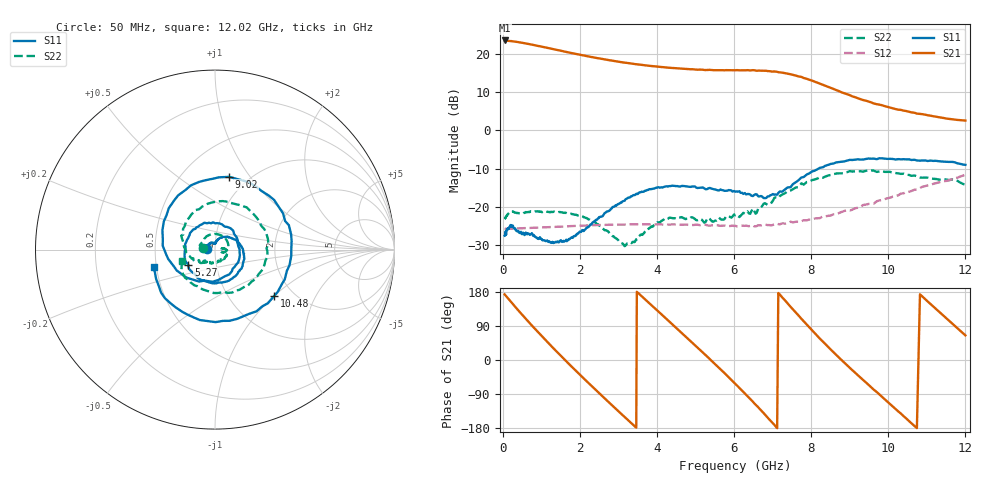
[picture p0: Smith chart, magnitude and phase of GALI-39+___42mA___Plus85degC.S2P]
! Mini-Circuits
! S2P DATA File Format
! Type: MMIC Amplifier
! Model: GALI-39  Reference Data:RDF-1232
! Note: All S Parameters are in dB deg format
! TEST CONDITIONS: INPUT POWER = -25dBm, Icc = 42mA, Vd = 3.48V @Temperature = +85degC
! 401 Frequency points
# MHz S DB R 50
!  FREQ  dB(S11)  PHS(S11)  dB(S21)  PHS(S21)  dB(S12)  PHS(S12)  dB(S22)  PHS(S22)
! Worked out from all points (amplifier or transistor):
!   401 points, 50 MHz to 12.02 GHz, reference 50 ohm
!   highest |S21| = 23.5 dB at 68 MHz (marker M1)
!   |S21| within 3 dB of that: start of sweep to 1.649 GHz
!   unconditionally stable (mu >= 1): start of sweep to end of sweep
!   at 965 MHz: K = 1.07, MAG = 22.1 dB, |S12| = -25.4 dB
!   at 3.31 GHz: K = 1.32, MAG = 17.7 dB, |S12| = -24.5 dB
!   at 12.02 GHz: K = 1.37, MAG = 3.4 dB, |S12| = -11.5 dB
!   S11 on the Smith chart (normalised r, x): 50 MHz: 0.92, +0.01; 5.27 GHz: 0.73, -0.13; 9.02 GHz: 0.82, +0.80; 10.48 GHz: 1.60, -1.00; 12.02 GHz: 0.48, -0.11
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50  -27.48 171.8  23.53 173.2  -25.66 -3.9  -23.11 173.8
68  -27.38 175.1  23.54 171.1  -25.67 -4.8  -22.92 172.7
440  -26.80 149.9  23.04 126.9  -25.60 -27.6  -21.70 148.8
810  -27.33 116.8  22.36 85.2  -25.44 -51.4  -21.26 114.8
1140  -28.85 96.8  21.65 49.6  -25.29 -73.2  -21.18 83.8
1420  -29.00 89.0  21.06 20.3  -25.15 -92.0  -21.32 58.6
2050  -26.35 79.4  19.72 -43.2  -24.88 -135.2  -22.26 10.4
2560  -22.54 61.7  18.75 -92.7  -24.69 -171.5  -25.04 -14.5
3135  -18.46 29.1  17.80 -147.3  -24.56 146.5  -29.76 -14.6
3575  -16.16 0.1  17.20 171.6  -24.52 113.5  -27.29 8.5
4050  -14.81 -35.8  16.66 127.3  -24.52 76.7  -24.01 -2.7
4610  -14.67 -84.0  16.18 75.3  -24.63 31.1  -22.76 -25.3
5270  -15.35 -150.7  15.80 12.9  -24.64 -25.7  -23.95 -58.4
6040  -16.01 125.5  15.74 -62.3  -24.91 -96.1  -22.17 -104.6
6500  -17.14 66.4  15.78 -110.0  -24.84 -141.8  -20.39 -129.8
7060  -16.80 -36.9  15.43 -171.4  -24.49 163.9  -17.58 -151.1
7540  -14.02 -116.6  14.55 133.7  -24.02 113.8  -15.34 176.6
8040  -10.69 175.7  13.03 78.2  -23.28 64.5  -12.96 135.8
9020  -7.68 79.0  9.23 -20.9  -20.94 -26.3  -10.62 53.0
10060  -7.41 -4.7  6.03 -116.2  -17.59 -117.6  -10.81 -22.7
10480  -7.55 -38.1  5.09 -153.9  -16.05 -153.7  -11.54 -51.2
12020  -8.98 -164.2  2.59 64.9  -11.54 73.2  -14.15 -160.3
